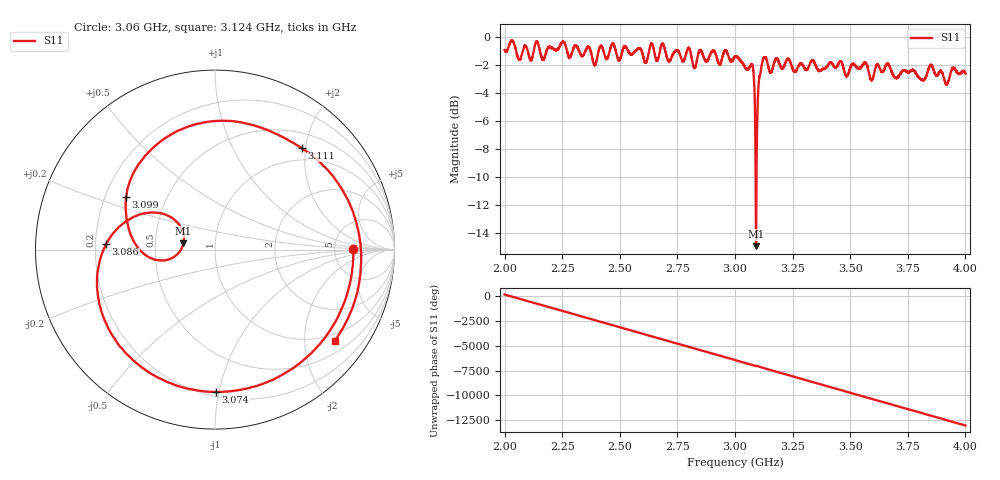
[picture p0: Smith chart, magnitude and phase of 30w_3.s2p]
!Agilent Technologies,E8362B,MY43021131,A.07.50.67
!Agilent E8362B: A.07.50.67
!Date: Thursday, March 14, 2024 14:03:40
!Correction: S11(Off)
!S21(Off)
!S12(Off)
!S22(Off)
!S2P File: Measurements: S11, S21, S12, S22:
# Hz S  RI  R 50
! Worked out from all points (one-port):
!   20001 points, 2 GHz to 4 GHz, reference 50 ohm
!   lowest |S11| = -14.9 dB at 3.091 GHz (marker M1), VSWR 1.44, Z = 35 + j2.51 ohm
!   |S11| at or under -10 dB: 3.08942 GHz to 3.09324 GHz (3.819 MHz wide, 0.124 % of centre)
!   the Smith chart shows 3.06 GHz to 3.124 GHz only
!   S11 on the Smith chart (normalised r, x): 3.06 GHz: 7.71, +0.03; 3.074 GHz: 0.23, -0.98; 3.086 GHz: 0.24, +0.02; 3.099 GHz: 0.29, +0.25; 3.111 GHz: 0.76, +1.93; 3.124 GHz: 0.81, -2.76
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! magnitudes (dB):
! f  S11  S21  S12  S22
! 2 GHz  -0.9  -  -  -
! 2.333 GHz  -1.4  -  -  -
! 2.667 GHz  -1.6  -  -  -
! 3 GHz  -1.4  -  -  -
! 3.06 GHz  -2.3  -  -  -
! 3.074 GHz  -2.0  -  -  -
! 3.079 GHz  -2.3  -  -  -
! 3.086 GHz  -4.3  -  -  -
! 3.091 GHz  -14.9  -  -  -
! 3.099 GHz  -4.8  -  -  -
! 3.104 GHz  -3.1  -  -  -
! 3.111 GHz  -2.6  -  -  -
! 3.124 GHz  -1.5  -  -  -
! 3.333 GHz  -1.7  -  -  -
! 3.485 GHz  -2.8  -  -  -
! 3.564 GHz  -1.9  -  -  -
! 3.593 GHz  -3.1  -  -  -
! 3.667 GHz  -2.0  -  -  -
! 3.814 GHz  -3.1  -  -  -
! 3.851 GHz  -2.0  -  -  -
! 3.918 GHz  -3.4  -  -  -
! 4 GHz  -2.6  -  -  -
